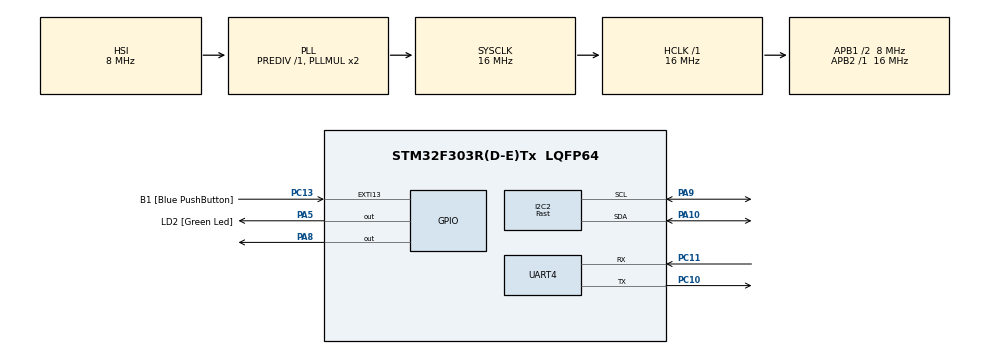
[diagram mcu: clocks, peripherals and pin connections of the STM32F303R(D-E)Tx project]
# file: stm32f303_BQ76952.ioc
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I2C2.I2C_Speed_Mode=I2C_Fast
I2C2.Timing=0x0000020B
Mcu.Family=STM32F3
Mcu.Name=STM32F303R(D-E)Tx
Mcu.Package=LQFP64
NVIC.PriorityGroup=NVIC_PRIORITYGROUP_0
PA10.Mode=I2C
PA10.Signal=I2C2_SDA
PA13.GPIO_Label=TMS
PA13.Signal=SYS_JTMS-SWDIO
PA14.GPIO_Label=TCK
PA14.Signal=SYS_JTCK-SWCLK
PA2.GPIO_Label=USART_TX
PA2.GPIO_Mode=GPIO_MODE_AF_PP
PA2.GPIO_PuPd=GPIO_NOPULL
PA2.GPIO_Speed=GPIO_SPEED_FREQ_LOW
PA2.Signal=USART2_TX
PA3.GPIO_Label=USART_RX
PA3.GPIO_Mode=GPIO_MODE_AF_PP
PA3.GPIO_PuPd=GPIO_NOPULL
PA3.GPIO_Speed=GPIO_SPEED_FREQ_LOW
PA3.Signal=USART2_RX
PA5.GPIO_Label=LD2 [Green Led]
PA5.GPIO_Mode=GPIO_MODE_OUTPUT_PP
PA5.GPIO_PuPd=GPIO_NOPULL
PA5.GPIO_Speed=GPIO_SPEED_FREQ_LOW
PA5.Signal=GPIO_Output
PA8.Signal=GPIO_Output
PA9.Mode=I2C
PA9.Signal=I2C2_SCL
PB3.GPIO_Label=SWO
PB3.Signal=SYS_JTDO-TRACESWO
PC10.Mode=Asynchronous
PC10.Signal=UART4_TX
PC11.Mode=Asynchronous
PC11.Signal=UART4_RX
PC13.GPIO_Label=B1 [Blue PushButton]
PC13.GPIO_ModeDefaultEXTI=GPIO_MODE_IT_FALLING
PC13.Signal=GPXTI13
PC14-OSC32_IN.Signal=RCC_OSC32_IN
PC15-OSC32_OUT.Signal=RCC_OSC32_OUT
PF0-OSC_IN.Mode=HSE-External-Oscillator
PF0-OSC_IN.Signal=RCC_OSC_IN
PF1-OSC_OUT.Mode=HSE-External-Oscillator
PF1-OSC_OUT.Signal=RCC_OSC_OUT
ProjectManager.HeapSize=0x200
ProjectManager.StackSize=0x400
ProjectManager.TargetToolchain=STM32CubeIDE
RCC.AHBFreq_Value=16000000
RCC.APB1CLKDivider=RCC_HCLK_DIV2
RCC.APB1Freq_Value=8000000
RCC.APB1TimFreq_Value=16000000
RCC.APB2Freq_Value=16000000
RCC.APB2TimFreq_Value=16000000
RCC.CortexFreq_Value=16000000
RCC.HCLKFreq_Value=16000000
RCC.HSE_VALUE=8000000
RCC.HSI_VALUE=8000000
RCC.LSE_VALUE=32768
RCC.PLLM=8
RCC.PLLN=336
RCC.PLLP=RCC_PLLP_DIV4
RCC.PLLQ=7
RCC.RCC_PLLsource_Clock_Source_FROM_HSE=RCC_HSE_PREDIV_DIV2
RCC.SYSCLKFreq_VALUE=16000000
RCC.SYSCLKSourceVirtual=RCC_SYSCLKSOURCE_PLLCLK
RCC.USBFreq_Value=16000000
VP_TIM1_VS_ClockSourceINT.Mode=Internal
board=NUCLEO-F303RE

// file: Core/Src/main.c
/* USER CODE BEGIN Header */
/**
  ******************************************************************************
  * @file           : main.c
  * @brief          : Main program body
  ******************************************************************************
  * @attention
  *
  * Copyright (c) 2022 STMicroelectronics.
  * All rights reserved.
  *
  * This software is licensed under terms that can be found in the LICENSE file
  * in the root directory of this software component.
  * If no LICENSE file comes with this software, it is provided AS-IS.
  *
  ******************************************************************************
  */
/* USER CODE END Header */
#include "main.h"

/* USER CODE BEGIN PTD */
HAL_StatusTypeDef result;
/* USER CODE END PTD */

/* USER CODE BEGIN PD */
#define DEV_ADDR  0x10  // BQ769x2 address is 0x10 including R/W bit or 0x8 as 7-bit address
#define CRC_Mode 0  // 0 for disabled, 1 for enabled
#define MAX_BUFFER_SIZE 10
#define R 0 // Read; Used in DirectCommands and Subcommands functions
#define W 1 // Write; Used in DirectCommands and Subcommands functions
#define W2 2 // Write data with two bytes; Used in Subcommands function
#define SET_CFGUPDATE 0x0090
#define EXIT_CFGUPDATE 0x0092
#define CUVThreshold 0x9275      //Protections:CUV:Threshold
#define COVThreshold 0x9278      //Protections:COV:Threshold

/* USER CODE END PD */

 I2C_HandleTypeDef hi2c2;

TIM_HandleTypeDef htim1;

UART_HandleTypeDef huart4;

/* USER CODE BEGIN PV */
#define write_address 0x10
#define read_address 0x11
/* USER CODE END PV */

void SystemClock_Config(void);
static void MX_GPIO_Init(void);
static void MX_I2C2_Init(void);
static void MX_TIM1_Init(void);
static void MX_UART4_Init(void);

/* USER CODE BEGIN 0 */

uint16_t buffer[2];
uint8_t sent[2];
uint8_t ENTER_CONFIGMODE[2];
uint8_t battery_status[2];
uint8_t full_access[4];

void I2C_WriteReg(uint8_t reg_addr, uint8_t *reg_data, uint8_t count)
{
	uint8_t TX_Buffer [MAX_BUFFER_SIZE] = {0x00,0x00,0x00,0x00,0x00,0x00,0x00,0x00,0x00,0x00};
#if CRC_Mode
	{
		uint8_t crc_count = 0;
		crc_count = count * 2;
		uint8_t crc1stByteBuffer [3] = {0x10, reg_addr, reg_data[0]};
		unsigned int j;
		unsigned int i;
		uint8_t temp_crc_buffer [3];

		TX_Buffer[0] = reg_data[0];
		TX_Buffer[1] = CRC8(crc1stByteBuffer,3);

		j = 2;
		for(i=1; i<count; i++)
		{
			TX_Buffer[j] = reg_data[i];
			j = j + 1;
			temp_crc_buffer[0] = reg_data[i];
			TX_Buffer[j] = CRC8(temp_crc_buffer,1);
			j = j + 1;
		}
		HAL_I2C_Mem_Write(&hi2c1, DEV_ADDR, reg_addr, 1, TX_Buffer, crc_count, 1000);
	}
#else
	HAL_I2C_Mem_Write(&hi2c2, DEV_ADDR, reg_addr, 1, reg_data, count, 1000);
#endif
}
void CommandSubcommands(uint16_t command) //For Command only Subcommands
// See the TRM or the BQ76952 header file for a full list of Command-only subcommands
{	//For DEEPSLEEP/SHUTDOWN subcommand you will need to call this function twice consecutively

	uint8_t TX_Reg[2] = {0x00, 0x00};

	//TX_Reg in little endian format
	TX_Reg[0] = command & 0xff;
	TX_Reg[1] = (command >> 8) & 0xff;

	I2C_WriteReg(0x3E,TX_Reg,2);
	HAL_Delay(2000);
}
unsigned char Checksum(unsigned char *ptr, unsigned char len)
// Calculates the checksum when writing to a RAM register. The checksum is the inverse of the sum of the bytes.
{
	unsigned char i;
	unsigned char checksum = 0;

	for(i=0; i<len; i++)
		checksum += ptr[i];

	checksum = 0xff & ~checksum;

	return(checksum);
}
void BQ769x2_SetRegister(uint16_t reg_addr, uint32_t reg_data, uint8_t datalen)
{
	uint8_t TX_Buffer[2] = {0x00, 0x00};
	uint8_t TX_RegData[6] = {0x00, 0x00, 0x00, 0x00, 0x00, 0x00};

	//TX_RegData in little endian format
	TX_RegData[0] = reg_addr & 0xff;
	TX_RegData[1] = (reg_addr >> 8) & 0xff;
	TX_RegData[2] = reg_data & 0xff; //1st byte of data

	switch(datalen)
    {
		case 1: //1 byte datalength
      		I2C_WriteReg(0x3E, TX_RegData, 3);
			HAL_Delay(2000);
			TX_Buffer[0] = Checksum(TX_RegData, 3);
			TX_Buffer[1] = 0x05; //combined length of register address and data
      		I2C_WriteReg(0x60, TX_Buffer, 2); // Write the checksum and length
			HAL_Delay(2000);
			break;
		case 2: //2 byte datalength
			TX_RegData[3] = (reg_data >> 8) & 0xff;
			I2C_WriteReg(0x3E, TX_RegData, 4);
			HAL_Delay(2000);
			TX_Buffer[0] = Checksum(TX_RegData, 4);
			TX_Buffer[1] = 0x06; //combined length of register address and data
      		I2C_WriteReg(0x60, TX_Buffer, 2); // Write the checksum and length
			HAL_Delay(2000);
			break;
		case 4: //4 byte datalength, Only used for CCGain and Capacity Gain
			TX_RegData[3] = (reg_data >> 8) & 0xff;
			TX_RegData[4] = (reg_data >> 16) & 0xff;
			TX_RegData[5] = (reg_data >> 24) & 0xff;
			I2C_WriteReg(0x3E, TX_RegData, 6);
			HAL_Delay(2000);
			TX_Buffer[0] = Checksum(TX_RegData, 6);
			TX_Buffer[1] = 0x08; //combined length of register address and data
      		I2C_WriteReg(0x60, TX_Buffer, 2); // Write the checksum and length
			HAL_Delay(2000);
			break;
    }
}

/* USER CODE END 0 */

int main(void)
{

  /* MCU Configuration--------------------------------------------------------*/

  /* Reset of all peripherals, Initializes the Flash interface and the Systick. */
  HAL_Init();

  /* Configure the system clock */
  SystemClock_Config();

  /* Initialize all configured peripherals */
  MX_GPIO_Init();
  MX_I2C2_Init();
  MX_TIM1_Init();
  MX_UART4_Init();
  /* USER CODE BEGIN 2 */
sent[0] = 0x12; // stack voltage
ENTER_CONFIGMODE[0] = 0x0090;

full_access[0] = 0xFFFFFFFF;

CommandSubcommands(SET_CFGUPDATE);

// Set up COV (over-voltage) Threshold - 0x9278 = 0x55 (4301 mV)
// COV Threshold is this value multiplied by 50.6mV
BQ769x2_SetRegister(COVThreshold, 0x45, 1);

CommandSubcommands(EXIT_CFGUPDATE);

void BQ769x2_settings(uint16_t threshold_address, uint16_t changed_variable ){

	CommandSubcommands(SET_CFGUPDATE);

	BQ769x2_SetRegister(threshold_address, changed_variable, 1);

	CommandSubcommands(EXIT_CFGUPDATE);

}
  /* USER CODE END 2 */

  /* Infinite loop */
  while (1)
  {
    /* USER CODE BEGIN 3 */
	//  HAL_I2C_Master_Transmit(&hi2c2, write_address, sent, 1, 100);

	// HAL_I2C_Master_Receive(&hi2c2, read_address, buffer, 2, 100);
  }
  /* USER CODE END 3 */
}

void SystemClock_Config(void)
{
  RCC_OscInitTypeDef RCC_OscInitStruct = {0};
  RCC_ClkInitTypeDef RCC_ClkInitStruct = {0};
  RCC_PeriphCLKInitTypeDef PeriphClkInit = {0};

  /** Initializes the RCC Oscillators according to the specified parameters
  * in the RCC_OscInitTypeDef structure.
  */
  RCC_OscInitStruct.OscillatorType = RCC_OSCILLATORTYPE_HSI;
  RCC_OscInitStruct.HSIState = RCC_HSI_ON;
  RCC_OscInitStruct.HSICalibrationValue = RCC_HSICALIBRATION_DEFAULT;
  RCC_OscInitStruct.PLL.PLLState = RCC_PLL_ON;
  RCC_OscInitStruct.PLL.PLLSource = RCC_PLLSOURCE_HSI;
  RCC_OscInitStruct.PLL.PLLMUL = RCC_PLL_MUL2;
  RCC_OscInitStruct.PLL.PREDIV = RCC_PREDIV_DIV1;
  if (HAL_RCC_OscConfig(&RCC_OscInitStruct) != HAL_OK)
  {
    Error_Handler();
  }

  /** Initializes the CPU, AHB and APB buses clocks
  */
  RCC_ClkInitStruct.ClockType = RCC_CLOCKTYPE_HCLK|RCC_CLOCKTYPE_SYSCLK
                              |RCC_CLOCKTYPE_PCLK1|RCC_CLOCKTYPE_PCLK2;
  RCC_ClkInitStruct.SYSCLKSource = RCC_SYSCLKSOURCE_PLLCLK;
  RCC_ClkInitStruct.AHBCLKDivider = RCC_SYSCLK_DIV1;
  RCC_ClkInitStruct.APB1CLKDivider = RCC_HCLK_DIV2;
  RCC_ClkInitStruct.APB2CLKDivider = RCC_HCLK_DIV1;

  if (HAL_RCC_ClockConfig(&RCC_ClkInitStruct, FLASH_LATENCY_0) != HAL_OK)
  {
    Error_Handler();
  }
  PeriphClkInit.PeriphClockSelection = RCC_PERIPHCLK_UART4|RCC_PERIPHCLK_I2C2
                              |RCC_PERIPHCLK_TIM1;
  PeriphClkInit.Uart4ClockSelection = RCC_UART4CLKSOURCE_PCLK1;
  PeriphClkInit.I2c2ClockSelection = RCC_I2C2CLKSOURCE_HSI;
  PeriphClkInit.Tim1ClockSelection = RCC_TIM1CLK_HCLK;
  if (HAL_RCCEx_PeriphCLKConfig(&PeriphClkInit) != HAL_OK)
  {
    Error_Handler();
  }
}

static void MX_I2C2_Init(void)
{

  hi2c2.Instance = I2C2;
  hi2c2.Init.Timing = 0x0000020B;
  hi2c2.Init.OwnAddress1 = 0;
  hi2c2.Init.AddressingMode = I2C_ADDRESSINGMODE_7BIT;
  hi2c2.Init.DualAddressMode = I2C_DUALADDRESS_DISABLE;
  hi2c2.Init.OwnAddress2 = 0;
  hi2c2.Init.OwnAddress2Masks = I2C_OA2_NOMASK;
  hi2c2.Init.GeneralCallMode = I2C_GENERALCALL_DISABLE;
  hi2c2.Init.NoStretchMode = I2C_NOSTRETCH_DISABLE;
  if (HAL_I2C_Init(&hi2c2) != HAL_OK)
  {
    Error_Handler();
  }

  /** Configure Analogue filter
  */
  if (HAL_I2CEx_ConfigAnalogFilter(&hi2c2, I2C_ANALOGFILTER_ENABLE) != HAL_OK)
  {
    Error_Handler();
  }

  /** Configure Digital filter
  */
  if (HAL_I2CEx_ConfigDigitalFilter(&hi2c2, 0) != HAL_OK)
  {
    Error_Handler();
  }

}

static void MX_TIM1_Init(void)
{

  TIM_ClockConfigTypeDef sClockSourceConfig = {0};
  TIM_MasterConfigTypeDef sMasterConfig = {0};

  htim1.Instance = TIM1;
  htim1.Init.Prescaler = 0;
  htim1.Init.CounterMode = TIM_COUNTERMODE_UP;
  htim1.Init.Period = 65535;
  htim1.Init.ClockDivision = TIM_CLOCKDIVISION_DIV1;
  htim1.Init.RepetitionCounter = 0;
  htim1.Init.AutoReloadPreload = TIM_AUTORELOAD_PRELOAD_DISABLE;
  if (HAL_TIM_Base_Init(&htim1) != HAL_OK)
  {
    Error_Handler();
  }
  sClockSourceConfig.ClockSource = TIM_CLOCKSOURCE_INTERNAL;
  if (HAL_TIM_ConfigClockSource(&htim1, &sClockSourceConfig) != HAL_OK)
  {
    Error_Handler();
  }
  sMasterConfig.MasterOutputTrigger = TIM_TRGO_RESET;
  sMasterConfig.MasterOutputTrigger2 = TIM_TRGO2_RESET;
  sMasterConfig.MasterSlaveMode = TIM_MASTERSLAVEMODE_DISABLE;
  if (HAL_TIMEx_MasterConfigSynchronization(&htim1, &sMasterConfig) != HAL_OK)
  {
    Error_Handler();
  }

}

static void MX_UART4_Init(void)
{

  huart4.Instance = UART4;
  huart4.Init.BaudRate = 115200;
  huart4.Init.WordLength = UART_WORDLENGTH_8B;
  huart4.Init.StopBits = UART_STOPBITS_1;
  huart4.Init.Parity = UART_PARITY_NONE;
  huart4.Init.Mode = UART_MODE_TX_RX;
  huart4.Init.HwFlowCtl = UART_HWCONTROL_NONE;
  huart4.Init.OverSampling = UART_OVERSAMPLING_16;
  huart4.Init.OneBitSampling = UART_ONE_BIT_SAMPLE_DISABLE;
  huart4.AdvancedInit.AdvFeatureInit = UART_ADVFEATURE_NO_INIT;
  if (HAL_UART_Init(&huart4) != HAL_OK)
  {
    Error_Handler();
  }

}

static void MX_GPIO_Init(void)
{
  GPIO_InitTypeDef GPIO_InitStruct = {0};

  /* GPIO Ports Clock Enable */
  __HAL_RCC_GPIOC_CLK_ENABLE();
  __HAL_RCC_GPIOF_CLK_ENABLE();
  __HAL_RCC_GPIOA_CLK_ENABLE();
  __HAL_RCC_GPIOB_CLK_ENABLE();

  /*Configure GPIO pin Output Level */
  HAL_GPIO_WritePin(GPIOA, LD2_Pin|GPIO_PIN_8, GPIO_PIN_RESET);

  /*Configure GPIO pin : B1_Pin */
  GPIO_InitStruct.Pin = B1_Pin;
  GPIO_InitStruct.Mode = GPIO_MODE_IT_FALLING;
  GPIO_InitStruct.Pull = GPIO_NOPULL;
  HAL_GPIO_Init(B1_GPIO_Port, &GPIO_InitStruct);

  /*Configure GPIO pins : USART_TX_Pin USART_RX_Pin */
  GPIO_InitStruct.Pin = USART_TX_Pin|USART_RX_Pin;
  GPIO_InitStruct.Mode = GPIO_MODE_AF_PP;
  GPIO_InitStruct.Pull = GPIO_NOPULL;
  GPIO_InitStruct.Speed = GPIO_SPEED_FREQ_LOW;
  GPIO_InitStruct.Alternate = GPIO_AF7_USART2;
  HAL_GPIO_Init(GPIOA, &GPIO_InitStruct);

  /*Configure GPIO pins : LD2_Pin PA8 */
  GPIO_InitStruct.Pin = LD2_Pin|GPIO_PIN_8;
  GPIO_InitStruct.Mode = GPIO_MODE_OUTPUT_PP;
  GPIO_InitStruct.Pull = GPIO_NOPULL;
  GPIO_InitStruct.Speed = GPIO_SPEED_FREQ_LOW;
  HAL_GPIO_Init(GPIOA, &GPIO_InitStruct);

}

void Error_Handler(void)
{
  __disable_irq();
  while (1)
  {
  }
}
